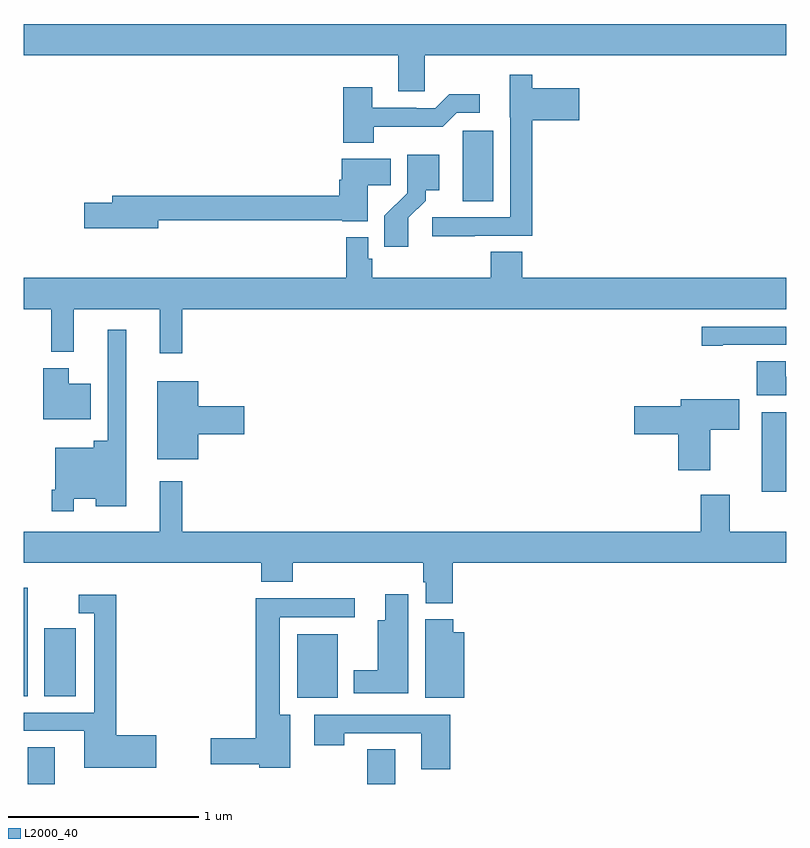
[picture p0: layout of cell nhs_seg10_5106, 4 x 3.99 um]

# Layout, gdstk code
import gdstk
lib = gdstk.Library(unit=1e-6, precision=1e-09)
def R(c, l, rs):  # rectangles x0, y0, x1, y1
    for r in rs: c.add(gdstk.rectangle(r[:2], r[2:], *l))
def P(c, l, *ps):  # polygons
    for p in ps: c.add(gdstk.Polygon(p, *l))
L2000_40 = (2000, 40)

nhs_seg10_5106 = lib.new_cell('nhs_seg10_5106')
R(nhs_seg10_5106, L2000_40, [(407.021,1288.5,407.161,1288.694), (408.802,1288.5,408.949,1288.682), (408.434,1288.952,408.646,1289.287), (407,1288.96,407.02,1289.53), (407.108,1288.96,407.272,1289.317), (410.873,1290.033,411,1290.451), (409.304,1291.558,409.462,1291.929)])
P(nhs_seg10_5106, L2000_40, [(409.104,1292.324),(411,1292.324),(411,1292.488),(407,1292.488),(407,1292.324),(408.965,1292.324),(408.965,1292.134),(409.104,1292.134)],
  [(409.367,1291.377),(409.667,1291.377),(409.667,1291.982),(409.915,1291.982),(409.915,1292.152),(409.667,1292.152),(409.667,1292.221),(409.55,1292.221),(409.55,1291.998),(409.551,1291.998),(409.551,1291.473),(409.143,1291.473),(409.143,1291.375),(409.367,1291.375)],
  [(408.837,1291.95),(409.199,1291.95),(409.272,1292.022),(409.393,1292.022),(409.393,1292.119),(409.231,1292.119),(409.158,1292.046),(409.058,1292.046),(409.058,1292.049),(408.829,1292.049),(408.829,1292.155),(408.677,1292.155),(408.677,1291.865),(408.837,1291.865)],
  [(409.018,1291.471),(409.108,1291.561),(409.108,1291.616),(409.18,1291.616),(409.18,1291.801),(409.013,1291.801),(409.013,1291.752),(409.011,1291.752),(409.011,1291.601),(408.892,1291.482),(408.892,1291.32),(409.018,1291.32)],
  [(407.704,1291.458),(408.672,1291.458),(408.672,1291.454),(408.805,1291.454),(408.805,1291.642),(408.926,1291.642),(408.926,1291.78),(408.668,1291.78),(408.668,1291.67),(408.656,1291.67),(408.656,1291.586),(407.465,1291.586),(407.465,1291.55),(407.316,1291.55),(407.316,1291.415),(407.704,1291.415)],
  [(407,1290.992),(407.143,1290.992),(407.143,1290.767),(407.261,1290.767),(407.261,1290.992),(407.714,1290.992),(407.714,1290.759),(407.831,1290.759),(407.831,1290.992),(411,1290.992),(411,1291.156),(409.616,1291.156),(409.616,1291.292),(409.451,1291.292),(409.451,1291.156),(408.827,1291.156),(408.827,1291.257),(408.807,1291.257),(408.807,1291.369),(408.691,1291.369),(408.691,1291.156),(407,1291.156)],
  [(410.668,1290.804),(411,1290.804),(411,1290.9),(410.556,1290.9),(410.556,1290.799),(410.668,1290.799)],
  [(407.262,1289.996),(407.378,1289.996),(407.378,1289.957),(407.536,1289.957),(407.536,1290.883),(407.439,1290.883),(407.439,1290.301),(407.366,1290.301),(407.366,1290.265),(407.166,1290.265),(407.166,1290.043),(407.146,1290.043),(407.146,1289.931),(407.262,1289.931)],
  [(411,1290.636),(410.998,1290.636),(410.998,1290.719),(410.846,1290.719),(410.846,1290.54),(411,1290.54)],
  [(407.35,1290.601),(407.236,1290.601),(407.236,1290.682),(407.102,1290.682),(407.102,1290.413),(407.35,1290.413)],
  [(407.914,1290.335),(408.157,1290.335),(408.157,1290.482),(407.914,1290.482),(407.914,1290.613),(407.699,1290.613),(407.699,1290.203),(407.914,1290.203)],
  [(410.602,1290.358),(410.755,1290.358),(410.755,1290.52),(410.447,1290.52),(410.447,1290.482),(410.202,1290.482),(410.202,1290.335),(410.435,1290.335),(410.435,1290.147),(410.602,1290.147)],
  [(409.25,1289.66),(411,1289.66),(411,1289.824),(410.704,1289.824),(410.704,1290.019),(410.552,1290.019),(410.552,1289.824),(407.831,1289.824),(407.831,1290.088),(407.714,1290.088),(407.714,1289.824),(407,1289.824),(407,1289.66),(408.245,1289.66),(408.245,1289.561),(408.41,1289.561),(408.41,1289.66),(409.097,1289.66),(409.097,1289.559),(409.109,1289.559),(409.109,1289.449),(409.25,1289.449)],
  [(409.018,1289.497),(408.896,1289.497),(408.896,1289.359),(408.857,1289.359),(408.857,1289.098),(408.731,1289.098),(408.731,1288.976),(409.018,1288.976)],
  [(407.695,1288.757),(407.486,1288.757),(407.486,1289.494),(407.289,1289.494),(407.289,1289.397),(407.37,1289.397),(407.37,1288.875),(407,1288.875),(407,1288.779),(407.318,1288.779),(407.318,1288.586),(407.695,1288.586)],
  [(408.397,1288.864),(408.343,1288.864),(408.343,1289.376),(408.736,1289.376),(408.736,1289.474),(408.218,1289.474),(408.218,1288.739),(407.982,1288.739),(407.982,1288.604),(408.234,1288.604),(408.234,1288.586),(408.397,1288.586)],
  [(409.312,1289.296),(409.253,1289.296),(409.253,1289.364),(409.106,1289.364),(409.106,1288.952),(409.312,1288.952)],
  [(409.238,1288.863),(408.525,1288.863),(408.525,1288.704),(408.681,1288.704),(408.681,1288.767),(409.085,1288.767),(409.085,1288.578),(409.238,1288.578)])

lib.write_gds('nhs_seg10_5106.gds')
